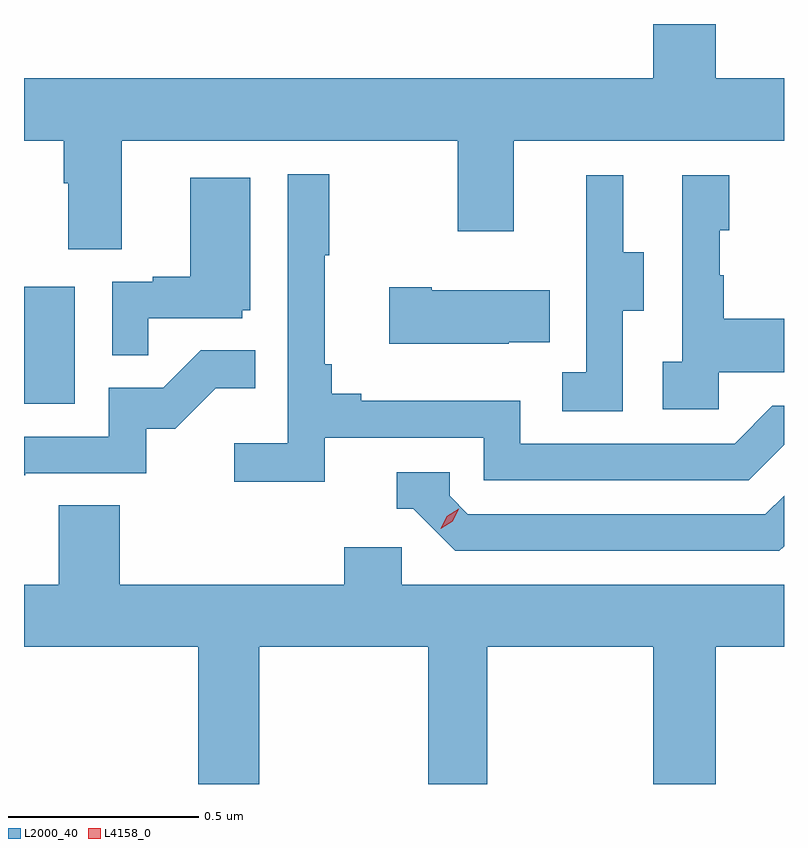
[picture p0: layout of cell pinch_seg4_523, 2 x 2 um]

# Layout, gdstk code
import gdstk
lib = gdstk.Library(unit=1e-6, precision=1e-09)
def R(c, l, rs):  # rectangles x0, y0, x1, y1
    for r in rs: c.add(gdstk.rectangle(r[:2], r[2:], *l))
def P(c, l, *ps):  # polygons
    for p in ps: c.add(gdstk.Polygon(p, *l))
L2000_40 = (2000, 40)
L4158_0 = (4158, 0)

pinch_seg4_523 = lib.new_cell('pinch_seg4_523')
R(pinch_seg4_523, L2000_40, [(966.548,760.164,966.682,760.471)])
P(pinch_seg4_523, L2000_40, [(966.548,760.856),(966.653,760.856),(966.653,760.744),(966.665,760.744),(966.665,760.57),(966.805,760.57),(966.805,760.856),(967.69,760.856),(967.69,760.617),(967.837,760.617),(967.837,760.856),(968.548,760.856),(968.548,761.02),(968.368,761.02),(968.368,761.163),(968.204,761.163),(968.204,761.02),(966.548,761.02)],
  [(967.34,760.074),(967.758,760.074),(967.758,759.963),(968.455,759.963),(968.548,760.056),(968.548,760.158),(968.517,760.158),(968.418,760.059),(967.854,760.059),(967.854,760.171),(967.435,760.171),(967.435,760.19),(967.358,760.19),(967.358,760.267),(967.339,760.267),(967.339,760.555),(967.351,760.555),(967.351,760.768),(967.242,760.768),(967.242,760.06),(967.101,760.06),(967.101,759.958),(967.34,759.958)],
  [(968.124,760.408),(968.179,760.408),(968.179,760.563),(968.125,760.563),(968.125,760.765),(968.027,760.765),(968.027,760.551),(968.028,760.551),(968.028,760.247),(967.965,760.247),(967.965,760.144),(968.124,760.144)],
  [(968.376,760.247),(968.548,760.247),(968.548,760.387),(968.389,760.387),(968.389,760.502),(968.379,760.502),(968.379,760.62),(968.404,760.62),(968.404,760.765),(968.28,760.765),(968.28,760.274),(968.229,760.274),(968.229,760.149),(968.376,760.149)],
  [(966.875,760.389),(967.122,760.389),(967.122,760.41),(967.144,760.41),(967.144,760.759),(966.986,760.759),(966.986,760.498),(966.887,760.498),(966.887,760.485),(966.78,760.485),(966.78,760.291),(966.875,760.291)],
  [(967.823,760.325),(967.931,760.325),(967.931,760.462),(967.621,760.462),(967.621,760.47),(967.509,760.47),(967.509,760.322),(967.823,760.322)],
  [(966.551,759.981),(966.87,759.981),(966.87,760.098),(966.946,760.098),(967.053,760.205),(967.157,760.205),(967.157,760.304),(967.013,760.304),(966.915,760.206),(966.771,760.206),(966.771,760.077),(966.548,760.077),(966.548,759.976),(966.551,759.976)],
  [(968.548,759.789),(968.548,759.922),(968.499,759.873),(967.716,759.873),(967.668,759.921),(967.668,759.984),(967.529,759.984),(967.529,759.888),(967.572,759.888),(967.683,759.777),(968.536,759.777)],
  [(967.167,759.524),(967.612,759.524),(967.612,759.163),(967.767,759.163),(967.767,759.524),(968.204,759.524),(968.204,759.163),(968.368,759.163),(968.368,759.524),(968.548,759.524),(968.548,759.688),(967.542,759.688),(967.542,759.786),(967.391,759.786),(967.391,759.688),(966.8,759.688),(966.8,759.896),(966.64,759.896),(966.64,759.688),(966.548,759.688),(966.548,759.524),(967.007,759.524),(967.007,759.163),(967.167,759.163)])
P(pinch_seg4_523, L4158_0, [(967.645,759.835),(967.645,759.835),(967.661,759.868),(967.692,759.887),(967.692,759.887),(967.692,759.887),(967.676,759.854),(967.645,759.835)])

lib.write_gds('pinch_seg4_523.gds')
